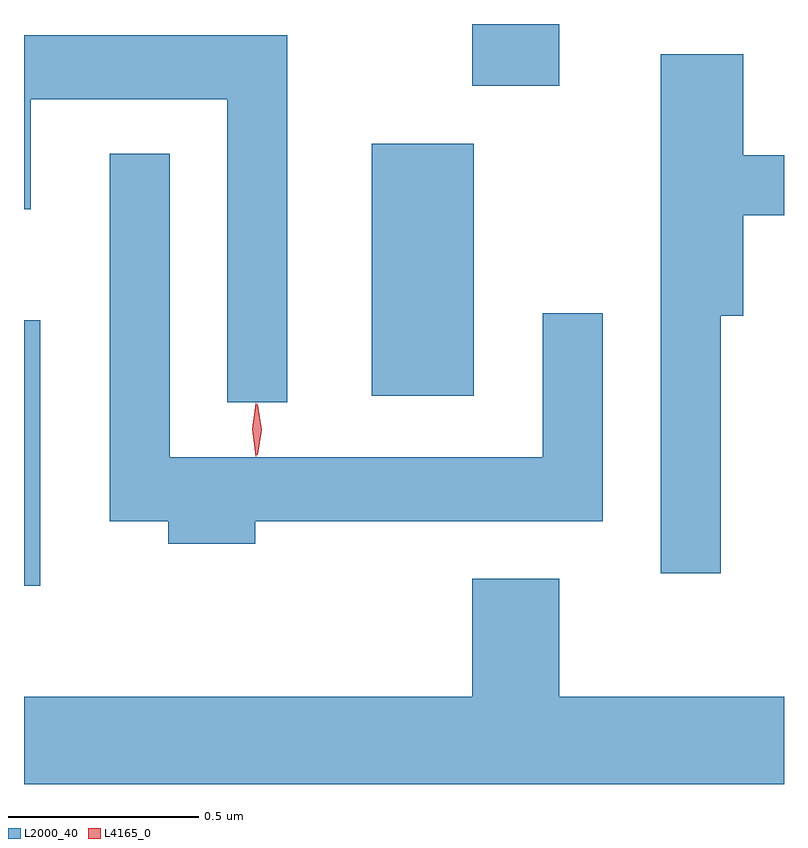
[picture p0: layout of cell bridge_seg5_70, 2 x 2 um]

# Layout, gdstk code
import gdstk
lib = gdstk.Library(unit=1e-6, precision=1e-09)
def R(c, l, rs):  # rectangles x0, y0, x1, y1
    for r in rs: c.add(gdstk.rectangle(r[:2], r[2:], *l))
def P(c, l, *ps):  # polygons
    for p in ps: c.add(gdstk.Polygon(p, *l))
L2000_40 = (2000, 40)
L4165_0 = (4165, 0)

bridge_seg5_70 = lib.new_cell('bridge_seg5_70')
R(bridge_seg5_70, L2000_40, [(1280.311,1472.896,1280.354,1473.594), (1281.226,1473.396,1281.494,1474.059), (1281.491,1474.211,1281.719,1474.374)])
P(bridge_seg5_70, L2000_40, [(1281.004,1474.344),(1280.311,1474.344),(1280.311,1473.886),(1280.329,1473.886),(1280.329,1474.176),(1280.846,1474.176),(1280.846,1473.378),(1281.004,1473.378)],
  [(1282.144,1473.606),(1282.204,1473.606),(1282.204,1473.871),(1282.311,1473.871),(1282.311,1474.029),(1282.204,1474.029),(1282.204,1474.294),(1281.986,1474.294),(1281.986,1472.928),(1282.144,1472.928)],
  [(1280.919,1473.066),(1281.834,1473.066),(1281.834,1473.613),(1281.676,1473.613),(1281.676,1473.234),(1280.694,1473.234),(1280.694,1474.033),(1280.536,1474.033),(1280.536,1473.066),(1280.691,1473.066),(1280.691,1473.006),(1280.919,1473.006)],
  [(1282.311,1472.604),(1281.719,1472.604),(1281.719,1472.914),(1281.491,1472.914),(1281.491,1472.604),(1280.311,1472.604),(1280.311,1472.374),(1282.311,1472.374)])
P(bridge_seg5_70, L4165_0, [(1280.921,1473.237),(1280.912,1473.307),(1280.921,1473.376),(1280.922,1473.376),(1280.922,1473.376),(1280.932,1473.307),(1280.922,1473.237),(1280.922,1473.237)],
  [(1280.925,1473.24),(1280.916,1473.306),(1280.925,1473.372),(1280.926,1473.373),(1280.926,1473.372),(1280.936,1473.306),(1280.926,1473.24),(1280.926,1473.24)])

lib.write_gds('bridge_seg5_70.gds')
